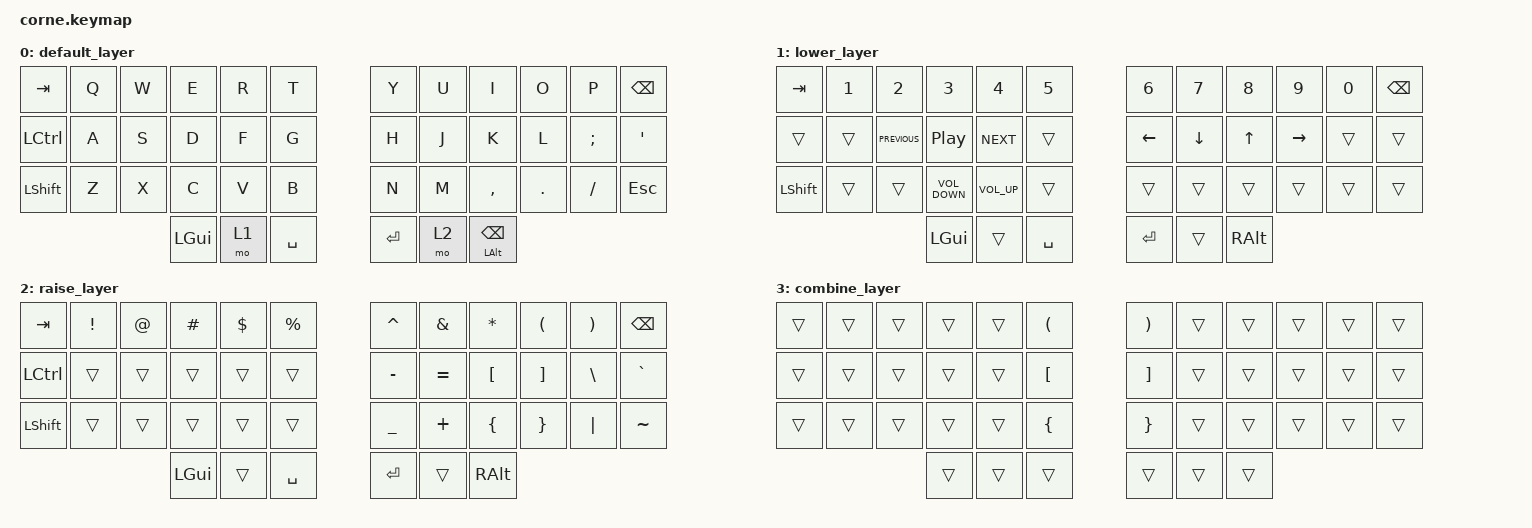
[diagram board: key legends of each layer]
/*
 * Copyright (c) 2020 The ZMK Contributors
 *
 * SPDX-License-Identifier: MIT
 */

#include <behaviors.dtsi>
#include <dt-bindings/zmk/keys.h>

/ {
    combos { compatible = "zmk,combos"; };

    keymap {
        compatible = "zmk,keymap";

        default_layer {
            // -----------------------------------------------------------------------------------------
            // |  TAB |  Q  |  W  |  E  |  R  |  T  |   |  Y  |  U   |  I  |  O  |  P  | BSPC |
            // | CTRL |  A  |  S  |  D  |  F  |  G  |   |  H  |  J   |  K  |  L  |  ;  |  '   |
            // | SHFT |  Z  |  X  |  C  |  V  |  B  |   |  N  |  M   |  ,  |  .  |  /  | ESC  |
            //                    | GUI | LWR | SPC |   | ENT | RSE  | ALT |

            bindings = <
&kp TAB    &kp Q  &kp W  &kp E     &kp R  &kp T        &kp Y      &kp U  &kp I                   &kp O    &kp P     &kp BSPC
&kp LCTRL  &kp A  &kp S  &kp D     &kp F  &kp G        &kp H      &kp J  &kp K                   &kp L    &kp SEMI  &kp SQT
&kp LSHFT  &kp Z  &kp X  &kp C     &kp V  &kp B        &kp N      &kp M  &kp COMMA               &kp DOT  &kp FSLH  &kp ESC
                         &kp LGUI  &mo 1  &kp SPACE    &kp ENTER  &mo 2  &mt LEFT_ALT BACKSPACE
            >;
        };

        lower_layer {
            // -----------------------------------------------------------------------------------------
            // |  TAB |  1  |  2  |  3  |  4  |  5  |   |  6  |  7  |  8  |  9  |  0  | BSPC |
            // | BTCLR| BT1 | BT2 | BT3 | BT4 | BT5 |   | LFT | DWN |  UP | RGT |     |      |
            // | SHFT |     |     |     |     |     |   |     |     |     |     |     |      |
            //                    | GUI |     | SPC |   | ENT |     | ALT |

            bindings = <
&kp TAB    &kp N1  &kp N2          &kp N3             &kp N4           &kp N5       &kp N6    &kp N7    &kp N8    &kp N9     &kp N0  &kp BSPC
&trans     &trans  &kp C_PREVIOUS  &kp C_PLAY_PAUSE   &kp C_NEXT       &trans       &kp LEFT  &kp DOWN  &kp UP    &kp RIGHT  &trans  &trans
&kp LSHFT  &trans  &trans          &kp C_VOLUME_DOWN  &kp C_VOLUME_UP  &trans       &trans    &trans    &trans    &trans     &trans  &trans
                                   &kp LGUI           &trans           &kp SPACE    &kp RET   &trans    &kp RALT
            >;
        };

        raise_layer {
            // -----------------------------------------------------------------------------------------
            // |  TAB |  !  |  @  |  #  |  $  |  %  |   |  ^  |  &  |  *  |  (  |  )  | BSPC |
            // | CTRL |     |     |     |     |     |   |  -  |  =  |  [  |  ]  |  \  |  `   |
            // | SHFT |     |     |     |     |     |   |  _  |  +  |  {  |  }  | "|" |  ~   |
            //                    | GUI |     | SPC |   | ENT |     | ALT |

            bindings = <
&kp TAB    &kp EXCL  &kp AT  &kp HASH  &kp DLLR  &kp PRCNT    &kp CARET  &kp AMPS   &kp ASTRK  &kp LPAR  &kp RPAR  &kp BSPC
&kp LCTRL  &trans    &trans  &trans    &trans    &trans       &kp MINUS  &kp EQUAL  &kp LBKT   &kp RBKT  &kp BSLH  &kp GRAVE
&kp LSHFT  &trans    &trans  &trans    &trans    &trans       &kp UNDER  &kp PLUS   &kp LBRC   &kp RBRC  &kp PIPE  &kp TILDE
                             &kp LGUI  &trans    &kp SPACE    &kp RET    &trans     &kp RALT
            >;
        };

        combine_layer {
            bindings = <
&trans  &trans  &trans  &trans  &trans  &kp LEFT_PARENTHESIS    &kp RIGHT_PARENTHESIS  &trans  &trans  &trans  &trans  &trans
&trans  &trans  &trans  &trans  &trans  &kp LEFT_BRACKET        &kp RIGHT_BRACKET      &trans  &trans  &trans  &trans  &trans
&trans  &trans  &trans  &trans  &trans  &kp LEFT_BRACE          &kp RIGHT_BRACE        &trans  &trans  &trans  &trans  &trans
                        &trans  &trans  &trans                  &trans                 &trans  &trans
            >;
        };
    };

    conditional_layers {
        compatible = "zmk,conditional-layers";

        cond_activate_third_layer {
            if-layers = <1 2>;
            then-layer = <3>;
        };
    };
};
